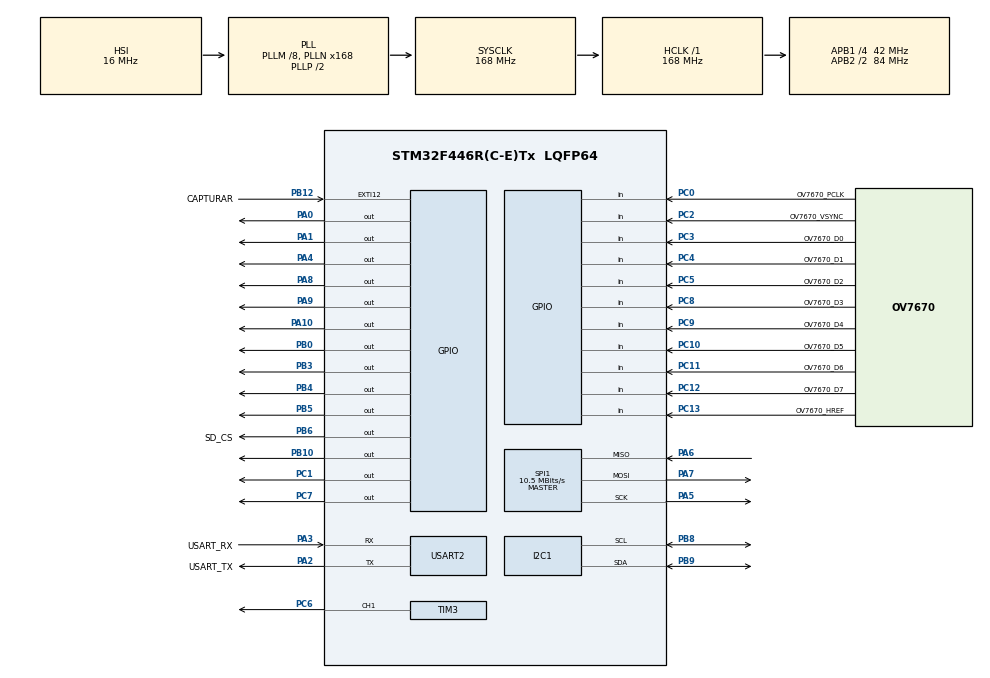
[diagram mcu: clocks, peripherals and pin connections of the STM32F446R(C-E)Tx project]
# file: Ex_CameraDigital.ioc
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FATFS._MAX_SS=4096
FATFS._USE_LFN=1
I2C1.I2C_Mode=I2C_Fast
Mcu.Family=STM32F4
Mcu.Name=STM32F446R(C-E)Tx
Mcu.Package=LQFP64
NVIC.EXTI15_10_IRQn=true\:0\:0\:false\:false\:true\:true\:true
NVIC.PriorityGroup=NVIC_PRIORITYGROUP_0
PA0-WKUP.Signal=GPIO_Output
PA1.Signal=GPIO_Output
PA10.Signal=GPIO_Output
PA13.GPIO_Label=TMS
PA13.Mode=Serial_Wire
PA13.Signal=SYS_JTMS-SWDIO
PA14.GPIO_Label=TCK
PA14.Mode=Serial_Wire
PA14.Signal=SYS_JTCK-SWCLK
PA2.GPIO_Label=USART_TX
PA2.Mode=Asynchronous
PA2.Signal=USART2_TX
PA3.GPIO_Label=USART_RX
PA3.Mode=Asynchronous
PA3.Signal=USART2_RX
PA4.Signal=GPIO_Output
PA5.Mode=Full_Duplex_Master
PA5.Signal=SPI1_SCK
PA6.Mode=Full_Duplex_Master
PA6.Signal=SPI1_MISO
PA7.Mode=Full_Duplex_Master
PA7.Signal=SPI1_MOSI
PA8.Signal=GPIO_Output
PA9.Signal=GPIO_Output
PB0.Signal=GPIO_Output
PB10.Signal=GPIO_Output
PB12.GPIO_Label=CAPTURAR
PB12.GPIO_ModeDefaultEXTI=GPIO_MODE_IT_FALLING
PB12.GPIO_PuPd=GPIO_PULLUP
PB12.Signal=GPXTI12
PB3.Signal=GPIO_Output
PB4.Signal=GPIO_Output
PB5.Signal=GPIO_Output
PB6.GPIO_Label=SD_CS
PB6.GPIO_Speed=GPIO_SPEED_FREQ_MEDIUM
PB6.PinState=GPIO_PIN_SET
PB6.Signal=GPIO_Output
PB8.Mode=I2C
PB8.Signal=I2C1_SCL
PB9.Mode=I2C
PB9.Signal=I2C1_SDA
PC0.GPIO_Label=OV7670_PCLK
PC0.Signal=GPIO_Input
PC1.Signal=GPIO_Output
PC10.GPIO_Label=OV7670_D5
PC10.Signal=GPIO_Input
PC11.GPIO_Label=OV7670_D6
PC11.Signal=GPIO_Input
PC12.GPIO_Label=OV7670_D7
PC12.Signal=GPIO_Input
PC13.GPIO_Label=OV7670_HREF
PC13.Signal=GPIO_Input
PC14-OSC32_IN.Mode=LSE-External-Oscillator
PC14-OSC32_IN.Signal=RCC_OSC32_IN
PC15-OSC32_OUT.Mode=LSE-External-Oscillator
PC15-OSC32_OUT.Signal=RCC_OSC32_OUT
PC2.GPIO_Label=OV7670_VSYNC
PC2.Signal=GPIO_Input
PC3.GPIO_Label=OV7670_D0
PC3.Signal=GPIO_Input
PC4.GPIO_Label=OV7670_D1
PC4.Signal=GPIO_Input
PC5.GPIO_Label=OV7670_D2
PC5.Signal=GPIO_Input
PC6.Signal=S_TIM3_CH1
PC7.Signal=GPIO_Output
PC8.GPIO_Label=OV7670_D3
PC8.Signal=GPIO_Input
PC9.GPIO_Label=OV7670_D4
PC9.Signal=GPIO_Input
PH0-OSC_IN.Mode=HSE-External-Oscillator
PH0-OSC_IN.Signal=RCC_OSC_IN
PH1-OSC_OUT.Mode=HSE-External-Oscillator
PH1-OSC_OUT.Signal=RCC_OSC_OUT
ProjectManager.HeapSize=0x200
ProjectManager.StackSize=0x400
ProjectManager.TargetToolchain=STM32CubeIDE
RCC.48MHZClocksFreq_Value=84000000
RCC.AHBFreq_Value=168000000
RCC.APB1CLKDivider=RCC_HCLK_DIV4
RCC.APB1Freq_Value=42000000
RCC.APB1TimFreq_Value=84000000
RCC.APB2CLKDivider=RCC_HCLK_DIV2
RCC.APB2Freq_Value=84000000
RCC.APB2TimFreq_Value=168000000
RCC.CortexFreq_Value=168000000
RCC.FLatency-AdvancedSettings=FLASH_LATENCY_5
RCC.HCLKFreq_Value=168000000
RCC.HSE_VALUE=8000000
RCC.HSI_VALUE=16000000
RCC.PLLM=8
RCC.PLLN=168
RCC.SYSCLKFreq_VALUE=168000000
RCC.SYSCLKSource=RCC_SYSCLKSOURCE_PLLCLK
RCC.USBFreq_Value=168000000
RCC.VCOOutputFreq_Value=336000000
SH.S_TIM3_CH1.0=TIM3_CH1,PWM Generation1 CH1
SPI1.BaudRatePrescaler=SPI_BAUDRATEPRESCALER_8
SPI1.CalculateBaudRate=10.5 MBits/s
SPI1.Direction=SPI_DIRECTION_2LINES
SPI1.Mode=SPI_MODE_MASTER
SPI1.VirtualType=VM_MASTER
TIM1.AutoReloadPreload=TIM_AUTORELOAD_PRELOAD_ENABLE
TIM1.Period=0xFFFF-1
TIM1.Prescaler=180-1
TIM3.Channel-PWM\ Generation1\ CH1=TIM_CHANNEL_1
TIM3.Period=7
USART2.VirtualMode=VM_ASYNC
VP_FATFS_VS_Generic.Mode=User_defined
VP_TIM1_VS_ClockSourceINT.Mode=Internal
VP_TIM3_VS_ClockSourceINT.Mode=Internal
board=NUCLEO-F446RE

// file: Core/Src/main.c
/* USER CODE BEGIN Header */
/**
  ******************************************************************************
  * @file           : main.c
  * @brief          : Main program body
  ******************************************************************************
  * @attention
  *
  * <h2><center>&copy; Copyright (c) 2020 STMicroelectronics.
  * All rights reserved.</center></h2>
  *
  * This software component is licensed by ST under BSD 3-Clause license,
  * the "License"; You may not use this file except in compliance with the
  * License. You may obtain a copy of the License at:
  *                        opensource.org/licenses/BSD-3-Clause
  *
  ******************************************************************************
  */
/* USER CODE END Header */

#include "main.h"
#include "fatfs.h"

/* USER CODE BEGIN Includes */
//Bibliotecas do LCD
#include "fonts.h"
#include "tft.h"
#include "user_setting.h"
#include "functions.h"
//Biblioteca de ajuste de funções para o SD Card (criada por terceiro)
#include "fatfs_sd.h"
#include "file.h"
#include <string.h>
#include <stdio.h>
//Biblioteca da câmera OV7670
#include "Camera_OV7670.h"
/* USER CODE END Includes */

/* USER CODE BEGIN PTD */
//#define RGB		//Definido em Camera_OV7670.h
//#define W320H240	//Definido em Camera_OV7670.h

#ifdef W320H240
  #define W 320
  #define H 240
#else
  #define W 160
  #define H 120
#endif

typedef struct{
	uint32_t id;
	uint32_t width;
	uint32_t height;
}Display;

/* USER CODE END PTD */

I2C_HandleTypeDef hi2c1;

SPI_HandleTypeDef hspi1;

TIM_HandleTypeDef htim1;
TIM_HandleTypeDef htim3;

UART_HandleTypeDef huart2;

/* USER CODE BEGIN PV */

Display displayTFT;

//uint16_t pixelLineVector[W];

//Manipulação de arquivos via SD Card

FATFS fs0, fs1;					/* Work area (filesystem object) for logical drives */

FIL fsrc, fdst;					/* File objects */

BYTE buffer[4096];   			/* File copy buffer */

fileErrorCode fr;						/* FatFs function common result code */

UINT br, bw;					/* File read/write count */

//Transferência de arquivos BMP do SD Card para o LCD

uint32_t first=100;

//Flag do Botão CAPTURAR

uint8_t flagBotaoCapturar;

uint8_t oneTime = 0;

uint8_t ultimaFotoTirada = 0;

/* USER CODE END PV */

void SystemClock_Config(void);
static void MX_GPIO_Init(void);
static void MX_USART2_UART_Init(void);
static void MX_I2C1_Init(void);
static void MX_SPI1_Init(void);
static void MX_TIM1_Init(void);
static void MX_TIM3_Init(void);
/* USER CODE BEGIN PFP */
uint16_t geraRGB565(uint8_t red, uint8_t green, uint8_t blue);
void LCD_TxBMP(unsigned char* data, unsigned int BitmapStart);

void HAL_GPIO_EXTI_Callback(uint16_t GPIO_Pin);
/* USER CODE END PFP */

/* USER CODE BEGIN 0 */

void exibirFrameNoDisplay ( void ) {

	if( W==320 ){

		setAddrWindow( 0, 0, W, H );

	}
	else{

		setAddrWindow( 80, 60, W+80-1, H+60-1 );

	}

	inicioDados();  // Habilita o CHIP SELECT do display TFT

	captureImg( displayTFT.width, displayTFT.height, &huart2);

	fimDados();		// Desliga o CHIP SELECT do display TFT

}

uint8_t initSave = 0;

void piscaTelaDoDisplay ( uint8_t color ) {

	fillScreen(color);

}

/* USER CODE END 0 */

int main(void)
{
  /* USER CODE BEGIN 1 */

	int32_t i;

	displayTFT.width = W;

	displayTFT.height = H;

  /* USER CODE END 1 */

  /* MCU Configuration--------------------------------------------------------*/

  /* Reset of all peripherals, Initializes the Flash interface and the Systick. */
  HAL_Init();

  /* Configure the system clock */
  SystemClock_Config();

  /* Initialize all configured peripherals */
  MX_GPIO_Init();
  MX_USART2_UART_Init();
  MX_I2C1_Init();
  MX_SPI1_Init();
  MX_TIM1_Init();
  MX_TIM3_Init();
  MX_FATFS_Init();
  /* USER CODE BEGIN 2 */

  //Sequência de inicialização do LCD

  tft_gpio_init();						//Inicializa os GPIOs do LCD (evita uso do CubeMX)

  HAL_TIM_Base_Start( &htim1 );			//Inicializa o Timer1 (base de tempo de us do LCD)

  displayTFT.id = tft_readID();			//Lê o ID do LCD (poderia ser chamada pela inicialização do LCD)

  HAL_Delay( 100 );

  tft_init ( displayTFT.id );			//Inicializa o LCD de acordo com seu ID

  setRotation( 3 );						//Ajusta a orientação da tela

  fillScreen( BLACK );					//Preenche a tela em uma só cor

  //Mensagem inicial

  HAL_UART_Transmit( &huart2, (uint8_t *)"Este programa recebe os pixels de uma camera OV7670 conectada\r\n", 66, 100 );

  HAL_UART_Transmit( &huart2, (uint8_t *)"nos GPIOs e envia para display LCD TFT                       \r\n", 66, 100 );

  //Plota molduras no LCD

  for( i=0; i<8; i++ )
  {

	  drawRect( i * 20, 					// X
			  	i * 15, 					// Y
			    320 - (2 * ( i * 20 ) ), 	// W
				240 - ( 2 * ( i * 15 ) ), 	// H
				WHITE ); 					// Collor

	  HAL_Delay( 100 );

  }

  //Liga o PWM

  HAL_TIM_PWM_Start( &htim3, TIM_CHANNEL_1 );

  htim3.Instance->CCR1 = 2;	//Define o duty_cycle em aprox. 50%

  HAL_Delay( 1000 );

  //Configura a câmera OV7670

  setup( &hi2c1, &huart2 );

  HAL_Delay(100);

  wrReg(EXHCH_MSB, 0x00);

  wrReg(REG_CLKRC, 8);

  /* USER CODE END 2 */

  /* Infinite loop */
  /* USER CODE BEGIN WHILE */

  /*
   * Função de teste da biblioteca file.c, testa se o FATFS foi implementado corretamente.
   */

  //testFileLibrary(&huart2);

  while (1){
    /* USER CODE END WHILE */

    /* USER CODE BEGIN 3 */

	  exibirFrameNoDisplay();

	  if( flagBotaoCapturar == PRESSIONADO ) {

		  HAL_Delay(100);

		  wrReg(EXHCH_MSB, 0x60);

		  captureAndSaveImg(W, H, &huart2);

		  wrReg(EXHCH_MSB, 0x00);

		  oneTime = 0;

		  flagBotaoCapturar = SOLTO;

		  piscaTelaDoDisplay(BLACK);

	  }

  }
  /* USER CODE END 3 */
}

void SystemClock_Config(void)
{
  RCC_OscInitTypeDef RCC_OscInitStruct = {0};
  RCC_ClkInitTypeDef RCC_ClkInitStruct = {0};

  /** Configure the main internal regulator output voltage
  */
  __HAL_RCC_PWR_CLK_ENABLE();
  __HAL_PWR_VOLTAGESCALING_CONFIG(PWR_REGULATOR_VOLTAGE_SCALE1);
  /** Initializes the CPU, AHB and APB busses clocks
  */
  RCC_OscInitStruct.OscillatorType = RCC_OSCILLATORTYPE_HSI;
  RCC_OscInitStruct.HSIState = RCC_HSI_ON;
  RCC_OscInitStruct.HSICalibrationValue = RCC_HSICALIBRATION_DEFAULT;
  RCC_OscInitStruct.PLL.PLLState = RCC_PLL_ON;
  RCC_OscInitStruct.PLL.PLLSource = RCC_PLLSOURCE_HSI;
  RCC_OscInitStruct.PLL.PLLM = 8;
  RCC_OscInitStruct.PLL.PLLN = 168;
  RCC_OscInitStruct.PLL.PLLP = RCC_PLLP_DIV2;
  RCC_OscInitStruct.PLL.PLLQ = 2;
  RCC_OscInitStruct.PLL.PLLR = 2;
  if (HAL_RCC_OscConfig(&RCC_OscInitStruct) != HAL_OK)
  {
    Error_Handler();
  }
  /** Initializes the CPU, AHB and APB busses clocks
  */
  RCC_ClkInitStruct.ClockType = RCC_CLOCKTYPE_HCLK|RCC_CLOCKTYPE_SYSCLK
                              |RCC_CLOCKTYPE_PCLK1|RCC_CLOCKTYPE_PCLK2;
  RCC_ClkInitStruct.SYSCLKSource = RCC_SYSCLKSOURCE_PLLCLK;
  RCC_ClkInitStruct.AHBCLKDivider = RCC_SYSCLK_DIV1;
  RCC_ClkInitStruct.APB1CLKDivider = RCC_HCLK_DIV4;
  RCC_ClkInitStruct.APB2CLKDivider = RCC_HCLK_DIV2;

  if (HAL_RCC_ClockConfig(&RCC_ClkInitStruct, FLASH_LATENCY_5) != HAL_OK)
  {
    Error_Handler();
  }
}

static void MX_I2C1_Init(void)
{

  hi2c1.Instance = I2C1;
  hi2c1.Init.ClockSpeed = 400000;
  hi2c1.Init.DutyCycle = I2C_DUTYCYCLE_2;
  hi2c1.Init.OwnAddress1 = 0;
  hi2c1.Init.AddressingMode = I2C_ADDRESSINGMODE_7BIT;
  hi2c1.Init.DualAddressMode = I2C_DUALADDRESS_DISABLE;
  hi2c1.Init.OwnAddress2 = 0;
  hi2c1.Init.GeneralCallMode = I2C_GENERALCALL_DISABLE;
  hi2c1.Init.NoStretchMode = I2C_NOSTRETCH_DISABLE;
  if (HAL_I2C_Init(&hi2c1) != HAL_OK)
  {
    Error_Handler();
  }

}

static void MX_SPI1_Init(void)
{

  /* SPI1 parameter configuration*/
  hspi1.Instance = SPI1;
  hspi1.Init.Mode = SPI_MODE_MASTER;
  hspi1.Init.Direction = SPI_DIRECTION_2LINES;
  hspi1.Init.DataSize = SPI_DATASIZE_8BIT;
  hspi1.Init.CLKPolarity = SPI_POLARITY_LOW;
  hspi1.Init.CLKPhase = SPI_PHASE_1EDGE;
  hspi1.Init.NSS = SPI_NSS_SOFT;
  hspi1.Init.BaudRatePrescaler = SPI_BAUDRATEPRESCALER_8;
  hspi1.Init.FirstBit = SPI_FIRSTBIT_MSB;
  hspi1.Init.TIMode = SPI_TIMODE_DISABLE;
  hspi1.Init.CRCCalculation = SPI_CRCCALCULATION_DISABLE;
  hspi1.Init.CRCPolynomial = 10;
  if (HAL_SPI_Init(&hspi1) != HAL_OK)
  {
    Error_Handler();
  }

}

static void MX_TIM1_Init(void)
{

  TIM_ClockConfigTypeDef sClockSourceConfig = {0};
  TIM_MasterConfigTypeDef sMasterConfig = {0};

  htim1.Instance = TIM1;
  htim1.Init.Prescaler = 180-1;
  htim1.Init.CounterMode = TIM_COUNTERMODE_UP;
  htim1.Init.Period = 0xFFFF-1;
  htim1.Init.ClockDivision = TIM_CLOCKDIVISION_DIV1;
  htim1.Init.RepetitionCounter = 0;
  htim1.Init.AutoReloadPreload = TIM_AUTORELOAD_PRELOAD_ENABLE;
  if (HAL_TIM_Base_Init(&htim1) != HAL_OK)
  {
    Error_Handler();
  }
  sClockSourceConfig.ClockSource = TIM_CLOCKSOURCE_INTERNAL;
  if (HAL_TIM_ConfigClockSource(&htim1, &sClockSourceConfig) != HAL_OK)
  {
    Error_Handler();
  }
  sMasterConfig.MasterOutputTrigger = TIM_TRGO_RESET;
  sMasterConfig.MasterSlaveMode = TIM_MASTERSLAVEMODE_DISABLE;
  if (HAL_TIMEx_MasterConfigSynchronization(&htim1, &sMasterConfig) != HAL_OK)
  {
    Error_Handler();
  }

}

static void MX_TIM3_Init(void)
{

  TIM_ClockConfigTypeDef sClockSourceConfig = {0};
  TIM_MasterConfigTypeDef sMasterConfig = {0};
  TIM_OC_InitTypeDef sConfigOC = {0};

  htim3.Instance = TIM3;
  htim3.Init.Prescaler = 0;
  htim3.Init.CounterMode = TIM_COUNTERMODE_UP;
  htim3.Init.Period = 7;
  htim3.Init.ClockDivision = TIM_CLOCKDIVISION_DIV1;
  htim3.Init.AutoReloadPreload = TIM_AUTORELOAD_PRELOAD_DISABLE;
  if (HAL_TIM_Base_Init(&htim3) != HAL_OK)
  {
    Error_Handler();
  }
  sClockSourceConfig.ClockSource = TIM_CLOCKSOURCE_INTERNAL;
  if (HAL_TIM_ConfigClockSource(&htim3, &sClockSourceConfig) != HAL_OK)
  {
    Error_Handler();
  }
  if (HAL_TIM_PWM_Init(&htim3) != HAL_OK)
  {
    Error_Handler();
  }
  sMasterConfig.MasterOutputTrigger = TIM_TRGO_RESET;
  sMasterConfig.MasterSlaveMode = TIM_MASTERSLAVEMODE_DISABLE;
  if (HAL_TIMEx_MasterConfigSynchronization(&htim3, &sMasterConfig) != HAL_OK)
  {
    Error_Handler();
  }
  sConfigOC.OCMode = TIM_OCMODE_PWM1;
  sConfigOC.Pulse = 0;
  sConfigOC.OCPolarity = TIM_OCPOLARITY_HIGH;
  sConfigOC.OCFastMode = TIM_OCFAST_DISABLE;
  if (HAL_TIM_PWM_ConfigChannel(&htim3, &sConfigOC, TIM_CHANNEL_1) != HAL_OK)
  {
    Error_Handler();
  }
  HAL_TIM_MspPostInit(&htim3);

}

static void MX_USART2_UART_Init(void)
{

  huart2.Instance = USART2;
  huart2.Init.BaudRate = 115200;
  huart2.Init.WordLength = UART_WORDLENGTH_8B;
  huart2.Init.StopBits = UART_STOPBITS_1;
  huart2.Init.Parity = UART_PARITY_NONE;
  huart2.Init.Mode = UART_MODE_TX_RX;
  huart2.Init.HwFlowCtl = UART_HWCONTROL_NONE;
  huart2.Init.OverSampling = UART_OVERSAMPLING_16;
  if (HAL_UART_Init(&huart2) != HAL_OK)
  {
    Error_Handler();
  }

}

static void MX_GPIO_Init(void)
{
  GPIO_InitTypeDef GPIO_InitStruct = {0};

  /* GPIO Ports Clock Enable */
  __HAL_RCC_GPIOC_CLK_ENABLE();
  __HAL_RCC_GPIOH_CLK_ENABLE();
  __HAL_RCC_GPIOA_CLK_ENABLE();
  __HAL_RCC_GPIOB_CLK_ENABLE();

  /*Configure GPIO pin Output Level */
  HAL_GPIO_WritePin(GPIOC, GPIO_PIN_1|GPIO_PIN_7, GPIO_PIN_RESET);

  /*Configure GPIO pin Output Level */
  HAL_GPIO_WritePin(GPIOA, GPIO_PIN_0|GPIO_PIN_1|GPIO_PIN_4|GPIO_PIN_8
                          |GPIO_PIN_9|GPIO_PIN_10, GPIO_PIN_RESET);

  /*Configure GPIO pin Output Level */
  HAL_GPIO_WritePin(GPIOB, GPIO_PIN_0|GPIO_PIN_10|GPIO_PIN_3|GPIO_PIN_4
                          |GPIO_PIN_5, GPIO_PIN_RESET);

  /*Configure GPIO pin Output Level */
  HAL_GPIO_WritePin(SD_CS_GPIO_Port, SD_CS_Pin, GPIO_PIN_SET);

  /*Configure GPIO pins : OV7670_HREF_Pin OV7670_PCLK_Pin OV7670_VSYNC_Pin OV7670_D0_Pin
                           OV7670_D1_Pin OV7670_D2_Pin OV7670_D3_Pin OV7670_D4_Pin
                           OV7670_D5_Pin OV7670_D6_Pin OV7670_D7_Pin */
  GPIO_InitStruct.Pin = OV7670_HREF_Pin|OV7670_PCLK_Pin|OV7670_VSYNC_Pin|OV7670_D0_Pin
                          |OV7670_D1_Pin|OV7670_D2_Pin|OV7670_D3_Pin|OV7670_D4_Pin
                          |OV7670_D5_Pin|OV7670_D6_Pin|OV7670_D7_Pin;
  GPIO_InitStruct.Mode = GPIO_MODE_INPUT;
  GPIO_InitStruct.Pull = GPIO_NOPULL;
  HAL_GPIO_Init(GPIOC, &GPIO_InitStruct);

  /*Configure GPIO pins : PC1 PC7 */
  GPIO_InitStruct.Pin = GPIO_PIN_1|GPIO_PIN_7;
  GPIO_InitStruct.Mode = GPIO_MODE_OUTPUT_PP;
  GPIO_InitStruct.Pull = GPIO_NOPULL;
  GPIO_InitStruct.Speed = GPIO_SPEED_FREQ_LOW;
  HAL_GPIO_Init(GPIOC, &GPIO_InitStruct);

  /*Configure GPIO pins : PA0 PA1 PA4 PA8
                           PA9 PA10 */
  GPIO_InitStruct.Pin = GPIO_PIN_0|GPIO_PIN_1|GPIO_PIN_4|GPIO_PIN_8
                          |GPIO_PIN_9|GPIO_PIN_10;
  GPIO_InitStruct.Mode = GPIO_MODE_OUTPUT_PP;
  GPIO_InitStruct.Pull = GPIO_NOPULL;
  GPIO_InitStruct.Speed = GPIO_SPEED_FREQ_LOW;
  HAL_GPIO_Init(GPIOA, &GPIO_InitStruct);

  /*Configure GPIO pins : PB0 PB10 PB3 PB4
                           PB5 */
  GPIO_InitStruct.Pin = GPIO_PIN_0|GPIO_PIN_10|GPIO_PIN_3|GPIO_PIN_4
                          |GPIO_PIN_5;
  GPIO_InitStruct.Mode = GPIO_MODE_OUTPUT_PP;
  GPIO_InitStruct.Pull = GPIO_NOPULL;
  GPIO_InitStruct.Speed = GPIO_SPEED_FREQ_LOW;
  HAL_GPIO_Init(GPIOB, &GPIO_InitStruct);

  /*Configure GPIO pin : CAPTURAR_Pin */
  GPIO_InitStruct.Pin = CAPTURAR_Pin;
  GPIO_InitStruct.Mode = GPIO_MODE_IT_FALLING;
  GPIO_InitStruct.Pull = GPIO_PULLUP;
  HAL_GPIO_Init(CAPTURAR_GPIO_Port, &GPIO_InitStruct);

  /*Configure GPIO pin : SD_CS_Pin */
  GPIO_InitStruct.Pin = SD_CS_Pin;
  GPIO_InitStruct.Mode = GPIO_MODE_OUTPUT_PP;
  GPIO_InitStruct.Pull = GPIO_NOPULL;
  GPIO_InitStruct.Speed = GPIO_SPEED_FREQ_MEDIUM;
  HAL_GPIO_Init(SD_CS_GPIO_Port, &GPIO_InitStruct);

  /* EXTI interrupt init*/
  HAL_NVIC_SetPriority(EXTI15_10_IRQn, 0, 0);
  HAL_NVIC_EnableIRQ(EXTI15_10_IRQn);

}

/* USER CODE BEGIN 4 */

void HAL_GPIO_EXTI_Callback(uint16_t GPIO_Pin){
	uint8_t i = 0;

	if (GPIO_Pin == CAPTURAR_Pin){

		if(HAL_GPIO_ReadPin(CAPTURAR_GPIO_Port, CAPTURAR_Pin) == RESET){

			for(i = 0; i <= 254; i++){

			}

			if(HAL_GPIO_ReadPin(CAPTURAR_GPIO_Port, CAPTURAR_Pin) == RESET){

				flagBotaoCapturar = PRESSIONADO;
			}
		}

	}

}

//Gera uma cor no formato RGB 565

uint16_t geraRGB565( uint8_t red, uint8_t green, uint8_t blue )
{

	//rrrrrggg gggbbbbb

	return ( ( red << 8 ) & 0xF800 ) + ( ( green << 5 ) & 0x07E0 ) + ( ( blue >>3 ) & 0x001F );

}

//Envia uma string como um bitmp para o LCD TFT
//Recebe: String com 512 bytes (1 setor de arquivo) que fazem parte da imagem
//				Flag que sinaliza se é o primeiro setor (onde está o cabeçalho)
void LCD_TxBMP(unsigned char* data, unsigned int BitmapStart)
{
	static unsigned int tamanho = 0;
	static unsigned char sobrou[3] = {0,0,0};
	unsigned int i = 0;
	//unsigned int setor = 512;
	unsigned short int cor;
	//unsigned char tam[11];
	unsigned char altura, x = 0, y = 127, bits_por_pixel;
	static unsigned char largura = 0, erro_bits = 0, bytes_extras = 0, pixels_por_linha = 0;

	//Se é o primeiro setor do arquivo, possui o cabeçalho
	if(BitmapStart)
	{
		BitmapStart = 0;

		//Reseta variável estática
		pixels_por_linha = 0;

		//Pula o cabeçalho
		i = 54;
		//Lê o tamanho da área de dados do arquivo em bytes
		tamanho = data[0x22] + (unsigned int)(data[0x23]<<8) + (unsigned int)(data[0x24]<<16) + (unsigned int)(data[0x25]<<24);
		//Leandro (01/09/2019) - Lê a largura e a altura da imagem para definir o tamanho da janela
		largura = data[18];
		altura = data[22];
		//Configura a janela
		setAddrWindow(x, y-altura+1, x+largura-1, y);
		//Envia para o LCD sinalização de início de envio de dados
		inicioDados();
		//Verifica se existirão bytes extras no arquivo em função da largura da imagem
		//Obervação: Existe uma restrição de que cada linha deva ter N bytes, sendo N um número
		//divisível por 4. Caso contrário, o BMP deve ser preenchido com bytes não válidos. Por
		//exemplo, se a imagem tem 1 x 100 pixels em 24 bits/pixel, o BMP teria 3 bytes válidos em
		//cada linha e mais 1 byte que não tem qualquer significado.
		switch((largura*3)%4)
		{
			case 1: bytes_extras = 3; break;
			case 2: bytes_extras = 2; break;
			case 3: bytes_extras = 1; break;
			default: bytes_extras = 0; break;
		}

		//Lê a quantidade de bits por pixel (neste caso é aceito apenas 24 bits por pixel)
		bits_por_pixel = data[28];
		//Testa a quatidade de bits
		if((bits_por_pixel != 24) || (largura > 128) || (altura > 128))
			erro_bits = 1;
		else
			erro_bits = 0;
	}

	//Se houver erro na quantidade de bits retorna e não envia para o LCD
	if(erro_bits)
	{
		return;
	}

	//Envia os pixels enquanto não acabar o setor ou o Bitmap
	while((i <= (512-3)) && (tamanho >= 3))	//24 bits por pixels
	{
		//Se completou uma linha
		if(pixels_por_linha == largura)
		{
			//Zera o contador
			pixels_por_linha = 0;
			//Verifica se tem bytes nulos para ignorar
			if(bytes_extras >= sobrou[0])
			{
				//Desconta os bytes_extras-sobrou[0] do tamanho do setor
				tamanho -= (bytes_extras-sobrou[0]);
				//Incrementa a posição do byte a ser lido do setor
				i += (bytes_extras-sobrou[0]);
				//Atualiza o valor da sobra
				sobrou[0] = 0;
				//Verifica se não cabe mais nenhum pixel, encerra o loop
				if((i>(512-3)) || (tamanho < 3))
					break;
			}
			else
			{
				//Atualiza o valor da sobra
				sobrou[0] -= bytes_extras;
			}
			//break;
			if(tamanho<3)
				break;
		}

		if(sobrou[0] == 0)			//Tamanho -= 3
		{
			//((r & 0xF8) << 8) | ((g & 0xFC) << 3) | (b >> 3);
			//Seguencia BGR (24 bits) --> RGB (565)
			cor = (data[i] >> 3) | ((data[i+1] & 0xFC) << 3) | ((data[i+2] & 0xF8) << 8);
			i += 3;
			tamanho -= 3;
		}
		else if(sobrou[0] == 1)	//Tamanho -= 2
		{
			//Sobrou a cor Azul
			cor = (sobrou[2] >> 3) | ((data[i] & 0xFC) << 3) | ((data[i+1] & 0xF8) << 8);
			i += 2;
			tamanho -= 2;
		}
		else if(sobrou[0] == 2)	//Tamanho -= 1
		{
			//Sobrou a cor Azul e Verde
			cor = (sobrou[1] >> 3) | ((sobrou[2] & 0xFC) << 3) | ((data[i] & 0xF8) << 8);
			i += 1;
			tamanho -= 1;
		}
		else
		{
			i = 512;
			//setor = 0;
			tamanho = 0;
			break;
		}
		//Envia pixel 565 para o LCD
		desenhaPixel(cor);

		sobrou[0] = 0;	//Sobra algum byte apenas no final do setor (i>= 510)

		//Incrementa o número de pixels enviados por linha e testa
		pixels_por_linha++;
	}
	//Se ainda não acabou o arquivo
	if(tamanho >= 3)
	{
		//Salva o número de bytes que sobreram para formar um pixels
		sobrou[0] = 512 - i;
		//Completa os 512 bytes do setor
		tamanho -= sobrou[0];
		//Salva o penúltimo byte
		sobrou[1] = data[510];
		//Salva o último byte
		sobrou[2] = data[511];
	}
	else
	{
		//Envia para o LCD sinalização de fim de envio de dados
		fimDados();
	}
}

/* USER CODE END 4 */

void Error_Handler(void)
{
}

/************************ (C) COPYRIGHT STMicroelectronics *****END OF FILE****/
